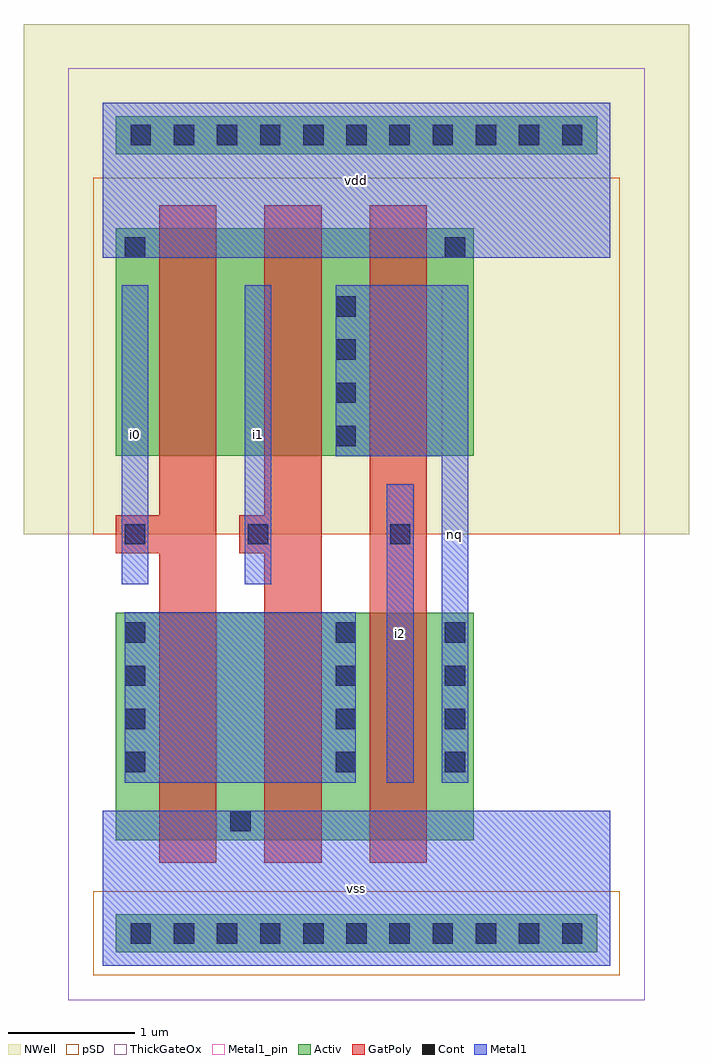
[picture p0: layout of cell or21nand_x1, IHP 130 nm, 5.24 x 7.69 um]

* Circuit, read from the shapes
.subckt or21nand_x1 i0 i1 i2 nq vdd vss
XM1 vss i0 n1 vss sg13_hv_nmos w=1.79u l=0.45u
XM2 n1 i1 vss vss sg13_hv_nmos w=1.79u l=0.45u
XM3 nq i2 n1 vss sg13_hv_nmos w=1.79u l=0.45u
XM4 n2 i0 vdd vdd sg13_hv_pmos w=1.79u l=0.45u
XM5 nq i1 n2 vdd sg13_hv_pmos w=1.79u l=0.45u
XM6 vdd i2 nq vdd sg13_hv_pmos w=1.79u l=0.45u
.ends

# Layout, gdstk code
import gdstk
lib = gdstk.Library(unit=1e-6, precision=1e-09)
def R(c, l, rs):  # rectangles x0, y0, x1, y1
    for r in rs: c.add(gdstk.rectangle(r[:2], r[2:], *l))
def A(c, l, x, y, w, h, nx, ny, dx, dy):  # array of equal rectangles
    R(c, l, [(x+i*dx, y+j*dy, x+i*dx+w, y+j*dy+h) for i in range(nx) for j in range(ny)])
def P(c, l, *ps):  # polygons
    for p in ps: c.add(gdstk.Polygon(p, *l))
Activ = (1, 0)
GatPoly = (5, 0)
Cont = (6, 0)
Metal1 = (8, 0)
Metal1_pin = (8, 2)
pSD = (14, 0)
NWell = (31, 0)
ThickGateOx = (44, 0)

or21nand_x1 = lib.new_cell('or21nand_x1')
R(or21nand_x1, Activ, [(0.105,0.105,3.895,0.405), (0.105,0.99,2.925,2.78), (0.105,4.02,2.925,5.81), (0.105,6.395,3.895,6.695)])
R(or21nand_x1, GatPoly, [(2.105,0.81,2.555,5.99)])
P(or21nand_x1, GatPoly, [(0.445,0.81),(0.445,3.25),(0.105,3.25),(0.105,3.55),(0.445,3.55),(0.445,5.99),(0.895,5.99),(0.895,0.81)],
  [(1.275,0.81),(1.275,3.25),(1.075,3.25),(1.075,3.55),(1.275,3.55),(1.275,5.99),(1.725,5.99),(1.725,0.81)])
A(or21nand_x1, Cont, 0.22, 0.175, 0.16, 0.16, 11, 2, 0.34, 6.29)
A(or21nand_x1, Cont, 0.175, 1.525, 0.16, 0.16, 1, 4, 0, 0.34)
A(or21nand_x1, Cont, 1.835, 1.525, 0.16, 0.16, 1, 4, 0, 0.34)
A(or21nand_x1, Cont, 2.695, 1.525, 0.16, 0.16, 1, 4, 0, 0.34)
A(or21nand_x1, Cont, 1.835, 4.095, 0.16, 0.16, 1, 4, 0, 0.34)
R(or21nand_x1, Cont, [(1.005,1.06,1.165,1.22), (0.175,3.32,0.335,3.48), (1.145,3.32,1.305,3.48), (2.265,3.32,2.425,3.48), (0.175,5.58,0.335,5.74), (2.695,5.58,2.855,5.74)])
R(or21nand_x1, Metal1, [(0,0,4,1.22), (0.175,1.44,1.995,2.785), (2.24,1.44,2.45,3.795), (0.15,3.005,0.36,5.36), (1.12,3.005,1.33,5.36), (0,5.58,4,6.8)])
P(or21nand_x1, Metal1, [(2.67,1.44),(2.67,4.015),(1.835,4.015),(1.835,5.36),(2.88,5.36),(2.88,1.44)])
R(or21nand_x1, Metal1_pin, [(0,0,4,1.22), (2.24,1.44,2.45,3.795), (2.67,1.44,2.88,5.36), (0.15,3.005,0.36,5.36), (1.12,3.005,1.33,5.36), (0,5.58,4,6.8)])
R(or21nand_x1, pSD, [(-0.075,-0.075,4.075,0.585), (-0.075,3.4,4.075,6.21)])
R(or21nand_x1, NWell, [(-0.62,3.4,4.62,7.42)])
R(or21nand_x1, ThickGateOx, [(-0.27,-0.27,4.27,7.07)])
or21nand_x1.add(gdstk.Label('vdd', (2,6.19), layer=8, texttype=2))
or21nand_x1.add(gdstk.Label('vss', (2,0.61), layer=8, texttype=2))
or21nand_x1.add(gdstk.Label('i0', (0.255,4.183), layer=8, texttype=2))
or21nand_x1.add(gdstk.Label('i1', (1.225,4.183), layer=8, texttype=2))
or21nand_x1.add(gdstk.Label('nq', (2.775,3.4), layer=8, texttype=2))
or21nand_x1.add(gdstk.Label('i2', (2.345,2.618), layer=8, texttype=2))

lib.write_gds('or21nand_x1.gds')
